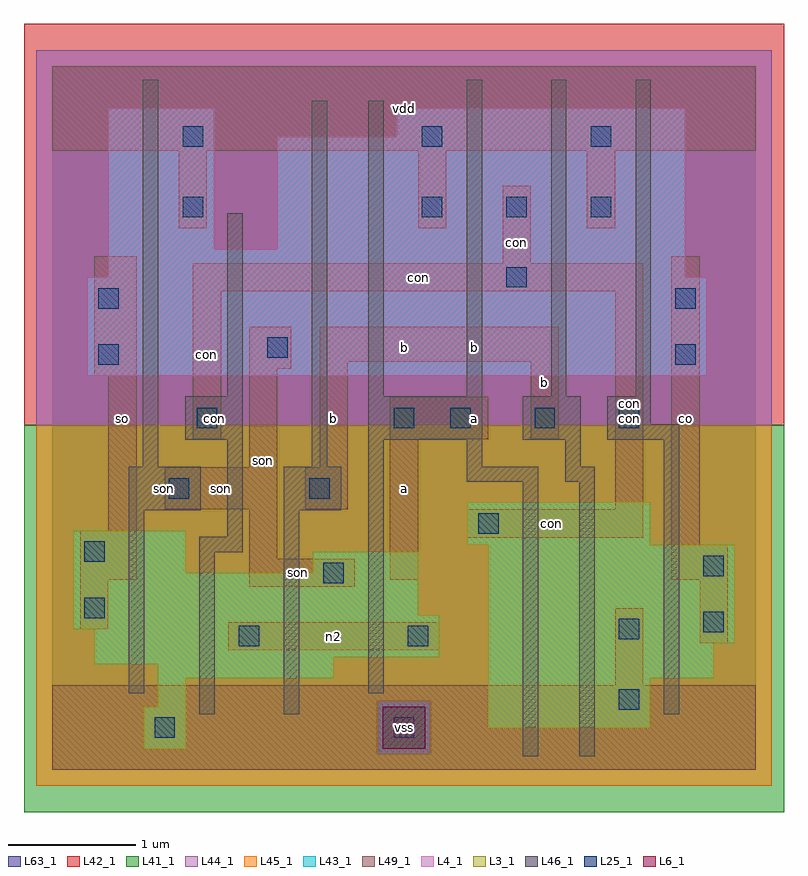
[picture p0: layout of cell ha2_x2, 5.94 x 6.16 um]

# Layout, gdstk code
import gdstk
lib = gdstk.Library(unit=1e-6, precision=1e-09)
def R(c, l, rs):  # rectangles x0, y0, x1, y1
    for r in rs: c.add(gdstk.rectangle(r[:2], r[2:], *l))
def A(c, l, x, y, w, h, nx, ny, dx, dy):  # array of equal rectangles
    R(c, l, [(x+i*dx, y+j*dy, x+i*dx+w, y+j*dy+h) for i in range(nx) for j in range(ny)])
L3_1 = (3, 1)
L4_1 = (4, 1)
L6_1 = (6, 1)
L25_1 = (25, 1)
L41_1 = (41, 1)
L42_1 = (42, 1)
L43_1 = (43, 1)
L44_1 = (44, 1)
L45_1 = (45, 1)
L46_1 = (46, 1)
L49_1 = (49, 1)
L63_1 = (63, 1)

ha2_x2 = lib.new_cell('ha2_x2')
R(ha2_x2, L3_1, [(0.715,0.165,1.045,0.495), (3.41,0.33,4.675,0.715), (0.825,0.495,1.045,0.715), (0.825,0.715,2.2,0.825), (3.41,0.715,5.17,0.99), (0.33,0.825,2.2,0.88), (0.33,0.88,3.025,1.1), (3.41,0.99,5.335,1.76), (0.165,1.1,3.025,1.21), (0.165,1.21,2.86,1.54), (0.165,1.54,1.045,1.87), (2.035,1.54,2.86,1.705), (3.245,1.76,4.675,2.09)])
R(ha2_x2, L4_1, [(0.275,3.08,5.115,3.85), (0.44,3.85,4.95,4.07), (0.44,4.07,1.265,5.17), (1.76,4.07,4.95,4.95), (2.695,4.95,4.95,5.17)])
R(ha2_x2, L6_1, [(2.585,0.165,2.915,0.495)])
A(ha2_x2, L25_1, 3.11, 2.67, 0.16, 0.16, 3, 1, 0.66, 0)
A(ha2_x2, L25_1, 2.89, 4.32, 0.16, 0.16, 3, 1, 0.66, 0)
R(ha2_x2, L25_1, [(0.8,0.25,0.96,0.41), (2.67,0.25,2.83,0.41), (4.43,0.47,4.59,0.63), (1.46,0.965,1.62,1.125), (2.78,0.965,2.94,1.125), (4.43,1.02,4.59,1.18), (5.09,1.075,5.25,1.235), (0.25,1.185,0.41,1.345), (2.12,1.46,2.28,1.62), (5.09,1.515,5.25,1.675), (0.25,1.625,0.41,1.785), (3.33,1.845,3.49,2.005), (0.91,2.12,1.07,2.28), (2.01,2.12,2.17,2.28), (1.13,2.67,1.29,2.83), (2.67,2.67,2.83,2.83), (0.36,3.165,0.52,3.325), (4.87,3.165,5.03,3.325), (1.68,3.22,1.84,3.38), (0.36,3.605,0.52,3.765), (4.87,3.605,5.03,3.765), (3.55,3.77,3.71,3.93), (1.02,4.32,1.18,4.48), (1.02,4.87,1.18,5.03), (2.89,4.87,3.05,5.03), (4.21,4.87,4.37,5.03)])
R(ha2_x2, L41_1, [(-0.22,-0.33,5.72,2.695)])
R(ha2_x2, L42_1, [(-0.22,2.695,5.72,5.83)])
R(ha2_x2, L43_1, [(0.715,0.165,1.045,0.495), (2.585,0.165,2.915,0.495), (3.41,0.33,4.675,0.715), (0.825,0.495,1.045,0.715), (0.825,0.715,2.2,0.825), (3.41,0.715,5.17,0.99), (0.33,0.825,2.2,0.88), (0.33,0.88,3.025,1.1), (3.41,0.99,5.335,1.76), (0.165,1.1,3.025,1.21), (0.165,1.21,2.86,1.54), (0.165,1.54,1.045,1.87), (2.035,1.54,2.86,1.705), (3.245,1.76,4.675,2.09), (0.275,3.08,5.115,3.85), (0.44,3.85,4.95,4.07), (0.44,4.07,1.265,5.17), (1.76,4.07,4.95,4.95), (2.695,4.95,4.95,5.17)])
R(ha2_x2, L44_1, [(2.545,0.125,2.955,0.535), (-0.125,2.695,5.625,5.625)])
R(ha2_x2, L45_1, [(-0.125,-0.125,5.625,0.125), (-0.125,0.125,2.545,0.535), (2.955,0.125,5.625,0.535), (-0.125,0.535,5.625,2.695)])
A(ha2_x2, L46_1, 3.24, 2.92, 0.12, 2.475, 3, 1, 0.66, 0)
R(ha2_x2, L46_1, [(3.68,0.105,3.8,2.25), (4.12,0.105,4.24,2.25), (1.15,0.435,1.27,1.7), (1.81,0.435,1.93,2.03), (4.78,0.435,4.9,2.58), (0.6,0.6,0.72,2.03), (2.47,0.6,2.59,2.58), (1.15,1.7,1.49,1.82), (1.37,1.82,1.49,2.58), (0.6,2.03,1.16,2.37), (1.81,2.03,2.26,2.37), (3.24,2.25,3.8,2.37), (4.01,2.25,4.24,2.37), (0.71,2.37,0.83,5.395), (2.03,2.37,2.15,5.23), (3.24,2.37,3.36,2.58), (4.01,2.37,4.13,2.58), (1.04,2.58,1.49,2.92), (2.47,2.58,3.36,2.92), (3.68,2.58,4.13,2.92), (4.34,2.58,4.9,2.7), (4.34,2.7,4.68,2.92), (1.37,2.92,1.49,4.35), (2.47,2.92,2.59,5.23)])
R(ha2_x2, L49_1, [(0,0,5.5,0.66), (4.4,0.66,4.62,1.265), (1.375,0.935,3.025,1.155), (5.06,0.99,5.28,1.485), (0.22,1.1,0.44,1.485), (1.54,1.43,2.365,1.65), (0.22,1.485,0.66,1.87), (2.64,1.485,2.86,2.585), (4.84,1.485,5.28,1.76), (1.54,1.65,1.76,2.035), (4.84,1.76,5.06,4.015), (3.245,1.815,4.62,2.035), (0.44,1.87,0.66,3.08), (0.88,2.035,1.76,2.365), (1.98,2.035,2.31,2.365), (4.4,2.035,4.62,3.74), (1.54,2.365,1.76,3.135), (2.09,2.365,2.31,3.19), (1.1,2.585,1.32,3.74), (2.64,2.585,3.41,2.915), (3.74,2.585,3.96,3.19), (0.33,3.08,0.66,4.015), (1.54,3.135,1.87,3.465), (2.09,3.19,3.96,3.465), (1.1,3.74,4.62,3.96), (3.52,3.96,3.74,4.565), (0.99,4.235,1.21,4.84), (2.86,4.235,3.08,4.84), (4.18,4.235,4.4,4.84), (0,4.84,5.5,5.5)])
R(ha2_x2, L63_1, [(0,0,5.5,5.5)])
ha2_x2.add(gdstk.Label('son', (0.88,2.2), layer=46, texttype=1))
ha2_x2.add(gdstk.Label('con', (1.265,2.75), layer=49, texttype=1))
ha2_x2.add(gdstk.Label('con', (4.51,2.75), layer=49, texttype=1))
ha2_x2.add(gdstk.Label('so', (0.55,2.75), layer=49, texttype=1))
ha2_x2.add(gdstk.Label('so', (0.55,2.75), layer=49, texttype=1))
ha2_x2.add(gdstk.Label('son', (1.32,2.2), layer=49, texttype=1))
ha2_x2.add(gdstk.Label('con', (1.21,3.245), layer=49, texttype=1))
ha2_x2.add(gdstk.Label('son', (1.65,2.42), layer=49, texttype=1))
ha2_x2.add(gdstk.Label('vss', (2.75,0.33), layer=49, texttype=1))
ha2_x2.add(gdstk.Label('vss', (2.75,0.33), layer=49, texttype=1))
ha2_x2.add(gdstk.Label('n2', (2.2,1.045), layer=49, texttype=1))
ha2_x2.add(gdstk.Label('son', (1.925,1.54), layer=49, texttype=1))
ha2_x2.add(gdstk.Label('a', (2.75,2.2), layer=49, texttype=1))
ha2_x2.add(gdstk.Label('a', (2.75,2.2), layer=49, texttype=1))
ha2_x2.add(gdstk.Label('b', (2.2,2.75), layer=49, texttype=1))
ha2_x2.add(gdstk.Label('b', (2.2,2.75), layer=49, texttype=1))
ha2_x2.add(gdstk.Label('b', (2.75,3.3), layer=49, texttype=1))
ha2_x2.add(gdstk.Label('b', (2.75,3.3), layer=49, texttype=1))
ha2_x2.add(gdstk.Label('vdd', (2.75,5.17), layer=49, texttype=1))
ha2_x2.add(gdstk.Label('vdd', (2.75,5.17), layer=49, texttype=1))
ha2_x2.add(gdstk.Label('a', (3.3,2.75), layer=49, texttype=1))
ha2_x2.add(gdstk.Label('a', (3.3,2.75), layer=49, texttype=1))
ha2_x2.add(gdstk.Label('b', (3.85,3.025), layer=49, texttype=1))
ha2_x2.add(gdstk.Label('b', (3.85,3.025), layer=49, texttype=1))
ha2_x2.add(gdstk.Label('b', (3.3,3.3), layer=49, texttype=1))
ha2_x2.add(gdstk.Label('b', (3.3,3.3), layer=49, texttype=1))
ha2_x2.add(gdstk.Label('con', (3.63,4.125), layer=49, texttype=1))
ha2_x2.add(gdstk.Label('con', (3.905,1.925), layer=49, texttype=1))
ha2_x2.add(gdstk.Label('co', (4.95,2.75), layer=49, texttype=1))
ha2_x2.add(gdstk.Label('co', (4.95,2.75), layer=49, texttype=1))
ha2_x2.add(gdstk.Label('con', (4.51,2.86), layer=49, texttype=1))
ha2_x2.add(gdstk.Label('con', (2.86,3.85), layer=49, texttype=1))

lib.write_gds('ha2_x2.gds')
